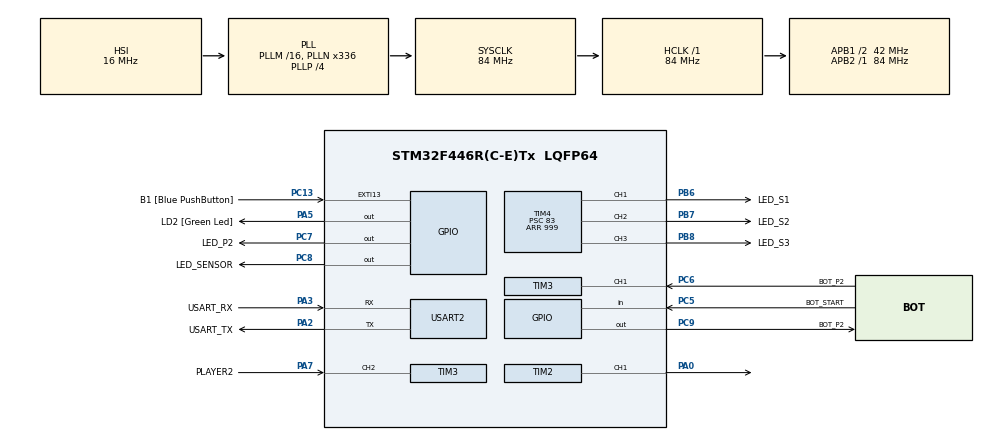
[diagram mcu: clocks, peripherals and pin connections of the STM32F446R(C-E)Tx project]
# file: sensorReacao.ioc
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Mcu.Family=STM32F4
Mcu.Name=STM32F446R(C-E)Tx
Mcu.Package=LQFP64
NVIC.PriorityGroup=NVIC_PRIORITYGROUP_0
NVIC.TIM2_IRQn=true\:0\:0\:false\:false\:true\:true\:true\:true
NVIC.TIM3_IRQn=true\:0\:0\:false\:false\:true\:true\:true\:true
NVIC.TIM4_IRQn=true\:0\:0\:false\:false\:true\:true\:true\:true
NVIC.USART2_IRQn=true\:0\:0\:false\:false\:true\:true\:true\:true
PA0-WKUP.Signal=S_TIM2_CH1_ETR
PA13.GPIO_Label=TMS
PA13.Mode=Serial_Wire
PA13.Signal=SYS_JTMS-SWDIO
PA14.GPIO_Label=TCK
PA14.Mode=Serial_Wire
PA14.Signal=SYS_JTCK-SWCLK
PA2.GPIO_Label=USART_TX
PA2.Mode=Asynchronous
PA2.Signal=USART2_TX
PA3.GPIO_Label=USART_RX
PA3.Mode=Asynchronous
PA3.Signal=USART2_RX
PA5.GPIO_Label=LD2 [Green Led]
PA5.Signal=GPIO_Output
PA7.GPIO_Label=PLAYER2
PA7.GPIO_PuPd=GPIO_PULLUP
PA7.Signal=S_TIM3_CH2
PB3.GPIO_Label=SWO
PB3.Signal=SYS_JTDO-SWO
PB6.GPIO_Label=LED_S1
PB6.Signal=S_TIM4_CH1
PB7.GPIO_Label=LED_S2
PB7.Signal=S_TIM4_CH2
PB8.GPIO_Label=LED_S3
PB8.Signal=S_TIM4_CH3
PC13.GPIO_Label=B1 [Blue PushButton]
PC13.GPIO_ModeDefaultEXTI=GPIO_MODE_IT_FALLING
PC13.Signal=GPXTI13
PC14-OSC32_IN.Mode=LSE-External-Oscillator
PC14-OSC32_IN.Signal=RCC_OSC32_IN
PC15-OSC32_OUT.Mode=LSE-External-Oscillator
PC15-OSC32_OUT.Signal=RCC_OSC32_OUT
PC5.GPIO_Label=BOT_START
PC5.GPIO_PuPd=GPIO_PULLUP
PC5.Signal=GPIO_Input
PC6.GPIO_Label=BOT_P2
PC6.GPIO_PuPd=GPIO_PULLUP
PC6.Signal=S_TIM3_CH1
PC7.GPIO_Label=LED_P2
PC7.Signal=GPIO_Output
PC8.GPIO_Label=LED_SENSOR
PC8.Signal=GPIO_Output
PC9.GPIO_Label=BOT_P2
PC9.Signal=GPIO_Output
PH0-OSC_IN.Mode=HSE-External-Oscillator
PH0-OSC_IN.Signal=RCC_OSC_IN
PH1-OSC_OUT.Mode=HSE-External-Oscillator
PH1-OSC_OUT.Signal=RCC_OSC_OUT
ProjectManager.HeapSize=0x200
ProjectManager.StackSize=0x400
ProjectManager.TargetToolchain=STM32CubeIDE
RCC.48MHZClocksFreq_Value=84000000
RCC.AHBFreq_Value=84000000
RCC.APB1CLKDivider=RCC_HCLK_DIV2
RCC.APB1Freq_Value=42000000
RCC.APB1TimFreq_Value=84000000
RCC.APB2Freq_Value=84000000
RCC.APB2TimFreq_Value=84000000
RCC.CortexFreq_Value=84000000
RCC.FLatency-AdvancedSettings=FLASH_LATENCY_2
RCC.HCLKFreq_Value=84000000
RCC.HSE_VALUE=8000000
RCC.HSI_VALUE=16000000
RCC.PLLN=336
RCC.PLLP=RCC_PLLP_DIV4
RCC.SYSCLKFreq_VALUE=84000000
RCC.SYSCLKSource=RCC_SYSCLKSOURCE_PLLCLK
RCC.USBFreq_Value=168000000
RCC.VCOOutputFreq_Value=336000000
SH.S_TIM2_CH1_ETR.0=TIM2_CH1,Output Compare1 CH1
SH.S_TIM3_CH1.0=TIM3_CH1,Input_Capture1_from_TI1
SH.S_TIM3_CH2.0=TIM3_CH2,Input_Capture2_from_TI2
SH.S_TIM4_CH1.0=TIM4_CH1,PWM Generation1 CH1
SH.S_TIM4_CH2.0=TIM4_CH2,PWM Generation2 CH2
SH.S_TIM4_CH3.0=TIM4_CH3,PWM Generation3 CH3
TIM2.Channel-Output\ Compare1\ CH1=TIM_CHANNEL_1
TIM2.OCMode_1=TIM_OCMODE_TOGGLE
TIM2.Prescaler=8399
TIM3.Channel-Input_Capture1_from_TI1=TIM_CHANNEL_1
TIM3.Channel-Input_Capture2_from_TI2=TIM_CHANNEL_2
TIM3.ICFilter_CH1=8
TIM3.Prescaler=8399
TIM4.Channel-PWM\ Generation1\ CH1=TIM_CHANNEL_1
TIM4.Channel-PWM\ Generation2\ CH2=TIM_CHANNEL_2
TIM4.Channel-PWM\ Generation3\ CH3=TIM_CHANNEL_3
TIM4.Period=999
TIM4.Prescaler=83
USART2.VirtualMode=VM_ASYNC
VP_TIM2_VS_ClockSourceINT.Mode=Internal
VP_TIM2_VS_OPM.Mode=OPM_bit
VP_TIM3_VS_ClockSourceINT.Mode=Internal
VP_TIM4_VS_ClockSourceINT.Mode=Internal
board=NUCLEO-F446RE

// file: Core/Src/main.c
/* USER CODE BEGIN Header */
/**
  ******************************************************************************
  * @file           : main.c
  * @brief          : Main program body
  ******************************************************************************
  * @attention
  *
  * Copyright (c) 2025 STMicroelectronics.
  * All rights reserved.
  *
  * This software is licensed under terms that can be found in the LICENSE file
  * in the root directory of this software component.
  * If no LICENSE file comes with this software, it is provided AS-IS.
  *
  ******************************************************************************
  */
/* USER CODE END Header */
#include "main.h"
#include "tim.h"
#include "usart.h"
#include "gpio.h"

/* USER CODE BEGIN Includes */
#include <stdio.h>
#include <stdlib.h>
#include <string.h>
/* USER CODE END Includes */

/* USER CODE BEGIN PD */
#define LED_PLAYER1_Pin GPIO_PIN_9
#define LED_PLAYER1_GPIO_Port GPIOC

#define LED_PLAYER2_Pin GPIO_PIN_7
#define LED_PLAYER2_GPIO_Port GPIOC

/* USER CODE END PD */

/* USER CODE BEGIN PV */
volatile uint32_t TimerLED = 0;
volatile uint32_t ReactionP1 = 0;
volatile uint32_t ReactionP2 = 0;
volatile uint32_t HighScore = 0xFFFFFFFF; // Inicia com o maior valor possível
volatile uint8_t TestInProgress = 0;
/* USER CODE END PV */

void SystemClock_Config(void);
/* USER CODE BEGIN PFP */
void SendUART(char *message);
void StartTest(void);
void ControleSmeaforo(void);
/* USER CODE END PFP */

int main(void)
{

  /* MCU Configuration--------------------------------------------------------*/

  /* Reset of all peripherals, Initializes the Flash interface and the Systick. */
  HAL_Init();

  /* Configure the system clock */
  SystemClock_Config();

  /* Initialize all configured peripherals */
  MX_GPIO_Init();
  MX_USART2_UART_Init();
  MX_TIM2_Init();
  MX_TIM3_Init();
  MX_TIM4_Init();
  /* USER CODE BEGIN 2 */
  SendUART("Jogo Iniciado.\r\n\n");
  /* USER CODE END 2 */

  /* Infinite loop */
  while (1)
  {
	  // Botão START inicia o jogo
	  if (HAL_GPIO_ReadPin(GPIOC, GPIO_PIN_5) == GPIO_PIN_RESET)
	  {
		  HAL_Delay(50);
	      while(HAL_GPIO_ReadPin(GPIOC, GPIO_PIN_5) == GPIO_PIN_RESET);
	      StartTest(); // Chama a função para o início do teste
	  }
  }
}

void SystemClock_Config(void)
{
  RCC_OscInitTypeDef RCC_OscInitStruct = {0};
  RCC_ClkInitTypeDef RCC_ClkInitStruct = {0};

  /** Configure the main internal regulator output voltage
  */
  __HAL_RCC_PWR_CLK_ENABLE();
  __HAL_PWR_VOLTAGESCALING_CONFIG(PWR_REGULATOR_VOLTAGE_SCALE3);

  /** Initializes the RCC Oscillators according to the specified parameters
  * in the RCC_OscInitTypeDef structure.
  */
  RCC_OscInitStruct.OscillatorType = RCC_OSCILLATORTYPE_HSI;
  RCC_OscInitStruct.HSIState = RCC_HSI_ON;
  RCC_OscInitStruct.HSICalibrationValue = RCC_HSICALIBRATION_DEFAULT;
  RCC_OscInitStruct.PLL.PLLState = RCC_PLL_ON;
  RCC_OscInitStruct.PLL.PLLSource = RCC_PLLSOURCE_HSI;
  RCC_OscInitStruct.PLL.PLLM = 16;
  RCC_OscInitStruct.PLL.PLLN = 336;
  RCC_OscInitStruct.PLL.PLLP = RCC_PLLP_DIV4;
  RCC_OscInitStruct.PLL.PLLQ = 2;
  RCC_OscInitStruct.PLL.PLLR = 2;
  if (HAL_RCC_OscConfig(&RCC_OscInitStruct) != HAL_OK)
  {
    Error_Handler();
  }

  /** Initializes the CPU, AHB and APB buses clocks
  */
  RCC_ClkInitStruct.ClockType = RCC_CLOCKTYPE_HCLK|RCC_CLOCKTYPE_SYSCLK
                              |RCC_CLOCKTYPE_PCLK1|RCC_CLOCKTYPE_PCLK2;
  RCC_ClkInitStruct.SYSCLKSource = RCC_SYSCLKSOURCE_PLLCLK;
  RCC_ClkInitStruct.AHBCLKDivider = RCC_SYSCLK_DIV1;
  RCC_ClkInitStruct.APB1CLKDivider = RCC_HCLK_DIV2;
  RCC_ClkInitStruct.APB2CLKDivider = RCC_HCLK_DIV1;

  if (HAL_RCC_ClockConfig(&RCC_ClkInitStruct, FLASH_LATENCY_2) != HAL_OK)
  {
    Error_Handler();
  }
}

/* USER CODE BEGIN 4 */

/* TIM2 Callback: acende LED central após delay "aleatório" */
void HAL_TIM_OC_DelayElapsedCallback(TIM_HandleTypeDef *htim)
{
    if (htim->Instance == TIM2 && TestInProgress)
    {
        HAL_GPIO_WritePin(GPIOC, GPIO_PIN_8, GPIO_PIN_SET); // LED central liga

        // Reinicia TIM3 do zero
        __HAL_TIM_SET_COUNTER(&htim3, 0);
        TimerLED = 0;

        // Inicia Input Capture para Player1 (CH1) e Player2 (CH2)
        HAL_TIM_IC_Start_IT(&htim3, TIM_CHANNEL_1);
        HAL_TIM_IC_Start_IT(&htim3, TIM_CHANNEL_2);
    }
}

/* TIM3 Input Capture Callback: mede tempo de reação */
void HAL_TIM_IC_CaptureCallback(TIM_HandleTypeDef *htim)
{
    if (htim->Instance == TIM3 && TestInProgress)
    {
        char msg[100];

        if(htim->Channel == HAL_TIM_ACTIVE_CHANNEL_1) // Player1
        {
            uint32_t ticks = HAL_TIM_ReadCapturedValue(htim, TIM_CHANNEL_1);
            ReactionP1 = ticks / 10; // converte o valor de micro segundos para ms
            HAL_TIM_IC_Stop_IT(&htim3, TIM_CHANNEL_1);
        }

        if(htim->Channel == HAL_TIM_ACTIVE_CHANNEL_2) // Player2
        {
            uint32_t ticks = HAL_TIM_ReadCapturedValue(htim, TIM_CHANNEL_2);
            ReactionP2 = ticks / 10; // converte o valor de micro segundo para ms
            HAL_TIM_IC_Stop_IT(&htim3, TIM_CHANNEL_2);
        }

        // Verifica se ambos já reagiram
        if (ReactionP1 && ReactionP2)
        {
            HAL_GPIO_WritePin(GPIOC, GPIO_PIN_8, GPIO_PIN_RESET); // LED central desliga

            // Semáforo PWM
            __HAL_TIM_SET_COMPARE(&htim4, TIM_CHANNEL_1, 0);
            __HAL_TIM_SET_COMPARE(&htim4, TIM_CHANNEL_2, 0);
            __HAL_TIM_SET_COMPARE(&htim4, TIM_CHANNEL_3, 0);

            // Envie o tempo dos dois players
            sprintf(msg, "Player1: %lu ms\r\n", ReactionP1);
            SendUART(msg);
            sprintf(msg, "Player2: %lu ms\r\n", ReactionP2);
            SendUART(msg);

            // Define vencedor
            if (ReactionP1 < ReactionP2)
            {
                SendUART("Vencedor: Player1\r\n");
                HAL_GPIO_WritePin(GPIOC, LED_PLAYER1_Pin, GPIO_PIN_SET); // LED P1 liga
            }
            else if (ReactionP2 < ReactionP1)
            {
                SendUART("Vencedor: Player2\r\n");
                HAL_GPIO_WritePin(GPIOC, LED_PLAYER2_Pin, GPIO_PIN_SET); // LED P2 liga
            }
            else
            {
                SendUART("Empate!\r\n");
            }

            // Atualiza o HighScore
            uint32_t menorTempo = (ReactionP1 < ReactionP2) ? ReactionP1 : ReactionP2;
            if (menorTempo < HighScore) HighScore = menorTempo;
            sprintf(msg, "HighScore: %lu ms\r\n\n", HighScore);
            SendUART(msg);

            // Reinicia variáveis para o próximo teste
            ReactionP1 = 0;
            ReactionP2 = 0;
            TestInProgress = 0;
        }
    }
}

/* Função para enviar mensagem via UART */
void SendUART(char *message) {
	HAL_UART_Transmit(&huart2, (uint8_t*)message, strlen(message), HAL_MAX_DELAY);
}

/* Controle das luzes do semáforo*/
void ControleSemaforo(void)
{
    HAL_TIM_PWM_Start(&htim4, TIM_CHANNEL_1);
    HAL_TIM_PWM_Start(&htim4, TIM_CHANNEL_2);
    HAL_TIM_PWM_Start(&htim4, TIM_CHANNEL_3);

    uint32_t maxDuty = __HAL_TIM_GET_AUTORELOAD(&htim4); // ARR = 999

    for (int channel = 1; channel <= 3; channel++)
    {
        for (uint32_t duty = 0; duty <= maxDuty; duty += 20) // Duty aumenta de 20 em 20
        {
            if (channel == 1) __HAL_TIM_SET_COMPARE(&htim4, TIM_CHANNEL_1, duty);
            if (channel == 2) __HAL_TIM_SET_COMPARE(&htim4, TIM_CHANNEL_2, duty);
            if (channel == 3) __HAL_TIM_SET_COMPARE(&htim4, TIM_CHANNEL_3, duty);

            HAL_Delay(30); // Gera delay de 1,5s -- 999(ARR) ÷ 20(duty) x 0,03(hal_delay 30ms) ≈ 1,5s
        }
        HAL_Delay(300); // Pausa curta entre os LEDs
    }

    // Garante que todos esteja ligados com mo brilho máximo
    __HAL_TIM_SET_COMPARE(&htim4, TIM_CHANNEL_1, maxDuty);
    __HAL_TIM_SET_COMPARE(&htim4, TIM_CHANNEL_2, maxDuty);
    __HAL_TIM_SET_COMPARE(&htim4, TIM_CHANNEL_3, maxDuty);
}

/* Inicia o teste de reação */
void StartTest(void)
{
    if (TestInProgress == 0)
    {
        TestInProgress = 1;
        SendUART("Inicio do Teste...\r\n");

        // Reseta LEDs vencedores
        HAL_GPIO_WritePin(GPIOC, LED_PLAYER1_Pin, GPIO_PIN_RESET);
        HAL_GPIO_WritePin(GPIOC, LED_PLAYER2_Pin, GPIO_PIN_RESET);

        // Executa a sequência do semáforo (com PWM)
        HAL_Delay(500);
        ControleSemaforo();

        // Delay aleatório 1-6s
        uint32_t randomDelay = (rand() % 50000) + 10000;
        __HAL_TIM_SET_COUNTER(&htim2, 0);
        __HAL_TIM_SET_COMPARE(&htim2, TIM_CHANNEL_1, randomDelay);
        HAL_TIM_OC_Start_IT(&htim2, TIM_CHANNEL_1);
    }
}

/* USER CODE END 4 */

void Error_Handler(void)
{
  __disable_irq();
  while (1)
  {
  }
}
